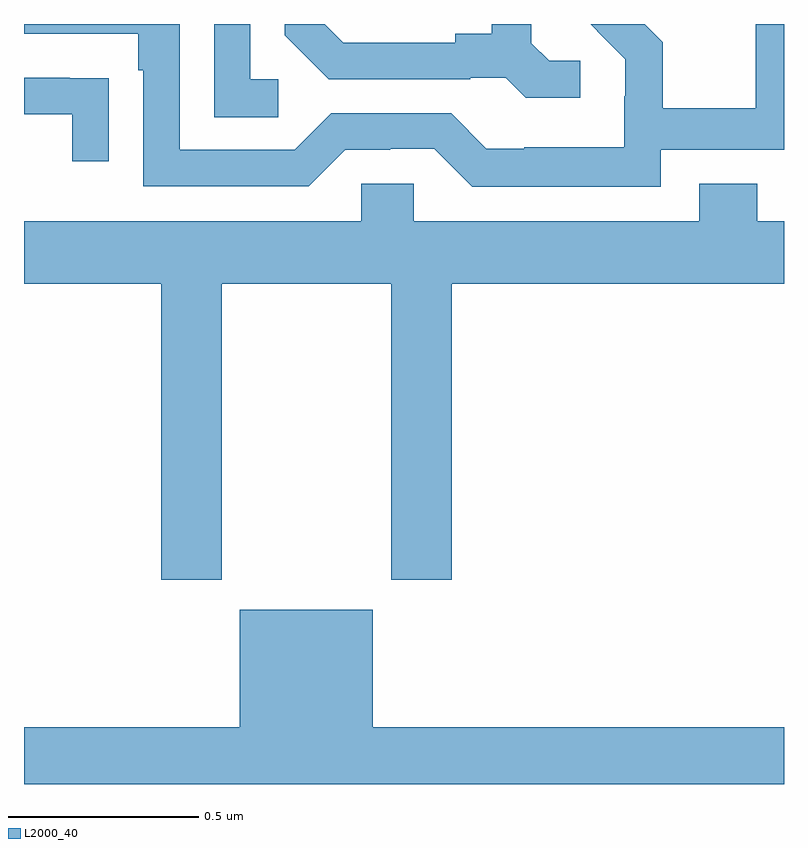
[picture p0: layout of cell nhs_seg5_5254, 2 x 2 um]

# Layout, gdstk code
import gdstk
lib = gdstk.Library(unit=1e-6, precision=1e-09)
def P(c, l, *ps):  # polygons
    for p in ps: c.add(gdstk.Polygon(p, *l))
L2000_40 = (2000, 40)

nhs_seg5_5254 = lib.new_cell('nhs_seg5_5254')
P(nhs_seg5_5254, L2000_40, [(182.676,834.468),(183,834.468),(183,834.799),(182.926,834.799),(182.926,834.577),(182.681,834.577),(182.681,834.751),(182.633,834.799),(182.491,834.799),(182.509,834.781),(182.508,834.78),(182.582,834.706),(182.582,834.609),(182.58,834.609),(182.58,834.475),(182.317,834.475),(182.317,834.471),(182.217,834.471),(182.124,834.564),(181.809,834.564),(181.713,834.468),(181.41,834.468),(181.41,834.799),(181,834.799),(181,834.774),(181.301,834.774),(181.301,834.677),(181.314,834.677),(181.314,834.372),(181.749,834.372),(181.845,834.468),(181.964,834.468),(181.964,834.471),(182.079,834.471),(182.179,834.371),(182.676,834.371)],
  [(182.464,834.702),(182.382,834.702),(182.335,834.749),(182.335,834.799),(182.231,834.799),(182.231,834.773),(182.135,834.773),(182.135,834.75),(181.84,834.75),(181.791,834.799),(181.686,834.799),(181.686,834.77),(181.802,834.654),(182.174,834.654),(182.174,834.657),(182.268,834.657),(182.32,834.605),(182.464,834.605)],
  [(181.669,834.654),(181.596,834.654),(181.596,834.799),(181.5,834.799),(181.5,834.553),(181.669,834.553)],
  [(181.223,834.656),(181.121,834.656),(181.121,834.657),(181,834.657),(181,834.561),(181.127,834.561),(181.127,834.438),(181.223,834.438)],
  [(181.887,834.28),(181,834.28),(181,834.116),(181.361,834.116),(181.361,833.337),(181.521,833.337),(181.521,834.116),(181.966,834.116),(181.966,833.337),(182.126,833.337),(182.126,834.116),(183,834.116),(183,834.28),(182.93,834.28),(182.93,834.379),(182.777,834.379),(182.777,834.28),(182.025,834.28),(182.025,834.378),(181.887,834.378)],
  [(183,832.948),(181.918,832.948),(181.918,833.257),(181.568,833.257),(181.568,832.948),(181,832.948),(181,832.799),(183,832.799)])

lib.write_gds('nhs_seg5_5254.gds')
